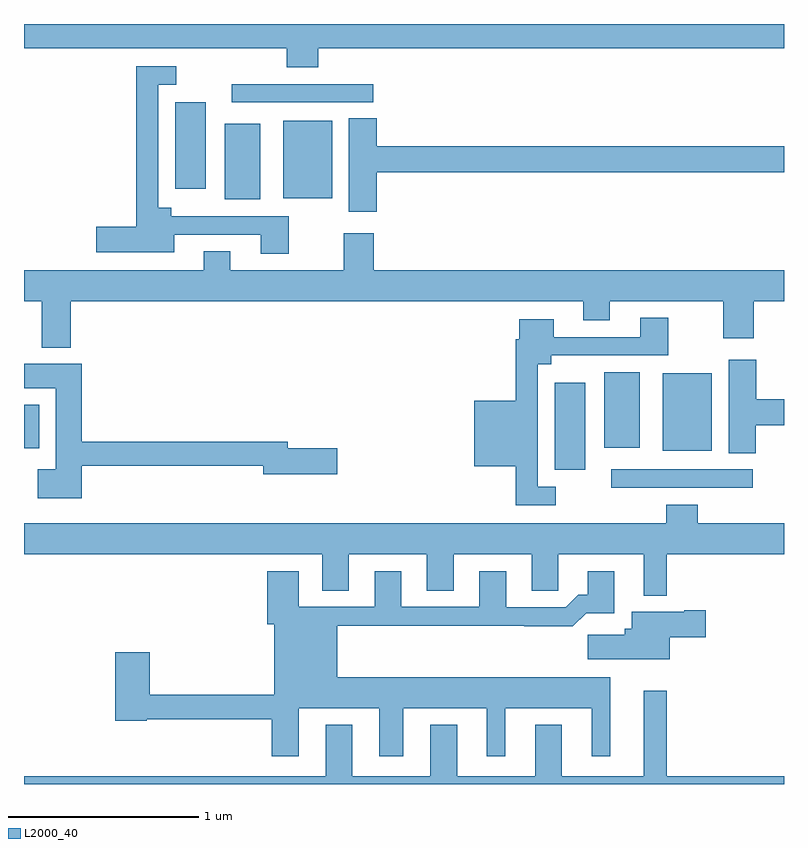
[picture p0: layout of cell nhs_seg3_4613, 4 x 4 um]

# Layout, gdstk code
import gdstk
lib = gdstk.Library(unit=1e-6, precision=1e-09)
def R(c, l, rs):  # rectangles x0, y0, x1, y1
    for r in rs: c.add(gdstk.rectangle(r[:2], r[2:], *l))
def P(c, l, *ps):  # polygons
    for p in ps: c.add(gdstk.Polygon(p, *l))
L2000_40 = (2000, 40)

nhs_seg3_4613 = lib.new_cell('nhs_seg3_4613')
R(nhs_seg3_4613, L2000_40, [(362.091,675.96,362.836,676.056), (361.793,676.055,361.954,676.513), (362.363,676.154,362.62,676.561), (359,676.166,359.08,676.396), (362.054,676.169,362.242,676.567), (360.056,677.477,360.244,677.875), (360.365,677.483,360.622,677.89), (359.795,677.532,359.956,677.989), (360.093,677.988,360.838,678.084)])
P(nhs_seg3_4613, L2000_40, [(360.548,678.272),(363,678.272),(363,678.4),(359,678.4),(359,678.272),(360.383,678.272),(360.383,678.173),(360.548,678.173)],
  [(360.393,677.388),(359.776,677.388),(359.776,677.434),(359.706,677.434),(359.706,678.08),(359.8,678.08),(359.8,678.177),(359.59,678.177),(359.59,677.333),(359.379,677.333),(359.379,677.198),(359.791,677.198),(359.791,677.292),(360.245,677.292),(360.245,677.19),(360.393,677.19)],
  [(360.857,677.62),(363,677.62),(363,677.756),(360.857,677.756),(360.857,677.903),(360.71,677.903),(360.71,677.412),(360.857,677.412)],
  [(359.246,676.94),(361.943,676.94),(361.943,676.841),(362.083,676.841),(362.083,676.94),(362.68,676.94),(362.68,676.746),(362.84,676.746),(362.84,676.94),(363,676.94),(363,677.104),(360.842,677.104),(360.842,677.299),(360.682,677.299),(360.682,677.104),(360.085,677.104),(360.085,677.203),(359.945,677.203),(359.945,677.104),(359,677.104),(359,676.94),(359.093,676.94),(359.093,676.697),(359.246,676.697)],
  [(361.798,675.964),(361.705,675.964),(361.705,676.313),(361.704,676.313),(361.704,676.61),(361.774,676.61),(361.774,676.656),(362.391,676.656),(362.391,676.855),(362.243,676.855),(362.243,676.752),(361.789,676.752),(361.789,676.846),(361.607,676.846),(361.607,676.742),(361.588,676.742),(361.588,676.417),(361.37,676.417),(361.37,676.073),(361.588,676.073),(361.588,675.867),(361.798,675.867)],
  [(362.85,676.288),(363,676.288),(363,676.424),(362.855,676.424),(362.855,676.633),(362.708,676.633),(362.708,676.141),(362.85,676.141)],
  [(359.303,676.074),(360.26,676.074),(360.26,676.031),(360.649,676.031),(360.649,676.166),(360.388,676.166),(360.388,676.202),(359.303,676.202),(359.303,676.612),(359,676.612),(359,676.484),(359.168,676.484),(359.168,676.057),(359.073,676.057),(359.073,675.905),(359.303,675.905)],
  [(359,675.608),(360.569,675.608),(360.569,675.418),(360.709,675.418),(360.709,675.608),(361.121,675.608),(361.121,675.418),(361.261,675.418),(361.261,675.608),(361.673,675.608),(361.673,675.418),(361.812,675.418),(361.812,675.608),(362.261,675.608),(362.261,675.392),(362.383,675.392),(362.383,675.608),(363,675.608),(363,675.772),(362.546,675.772),(362.546,675.871),(362.381,675.871),(362.381,675.772),(359,675.772)],
  [(360.445,674.798),(360.869,674.798),(360.869,674.547),(360.997,674.547),(360.997,674.798),(361.436,674.798),(361.436,674.547),(361.534,674.547),(361.534,674.798),(361.988,674.798),(361.988,674.547),(362.086,674.547),(362.086,674.962),(360.649,674.962),(360.649,675.232),(361.633,675.232),(361.633,675.23),(361.889,675.23),(361.958,675.299),(362.107,675.299),(362.107,675.52),(361.967,675.52),(361.967,675.397),(361.918,675.397),(361.851,675.33),(361.537,675.33),(361.537,675.52),(361.397,675.52),(361.397,675.333),(360.985,675.333),(360.985,675.52),(360.845,675.52),(360.845,675.333),(360.445,675.333),(360.445,675.52),(360.281,675.52),(360.281,675.24),(360.317,675.24),(360.317,674.87),(359.663,674.87),(359.663,675.094),(359.48,675.094),(359.48,674.734),(359.646,674.734),(359.646,674.742),(360.305,674.742),(360.305,674.547),(360.445,674.547)],
  [(362.398,675.173),(362.587,675.173),(362.587,675.315),(362.474,675.315),(362.474,675.307),(362.198,675.307),(362.198,675.217),(362.162,675.217),(362.162,675.185),(361.968,675.185),(361.968,675.056),(362.398,675.056)],
  [(359,674.4),(363,674.4),(363,674.44),(362.383,674.44),(362.383,674.89),(362.261,674.89),(362.261,674.44),(361.831,674.44),(361.831,674.713),(361.691,674.713),(361.691,674.44),(361.279,674.44),(361.279,674.713),(361.139,674.713),(361.139,674.44),(360.727,674.44),(360.727,674.713),(360.587,674.713),(360.587,674.44),(359,674.44)])

lib.write_gds('nhs_seg3_4613.gds')
